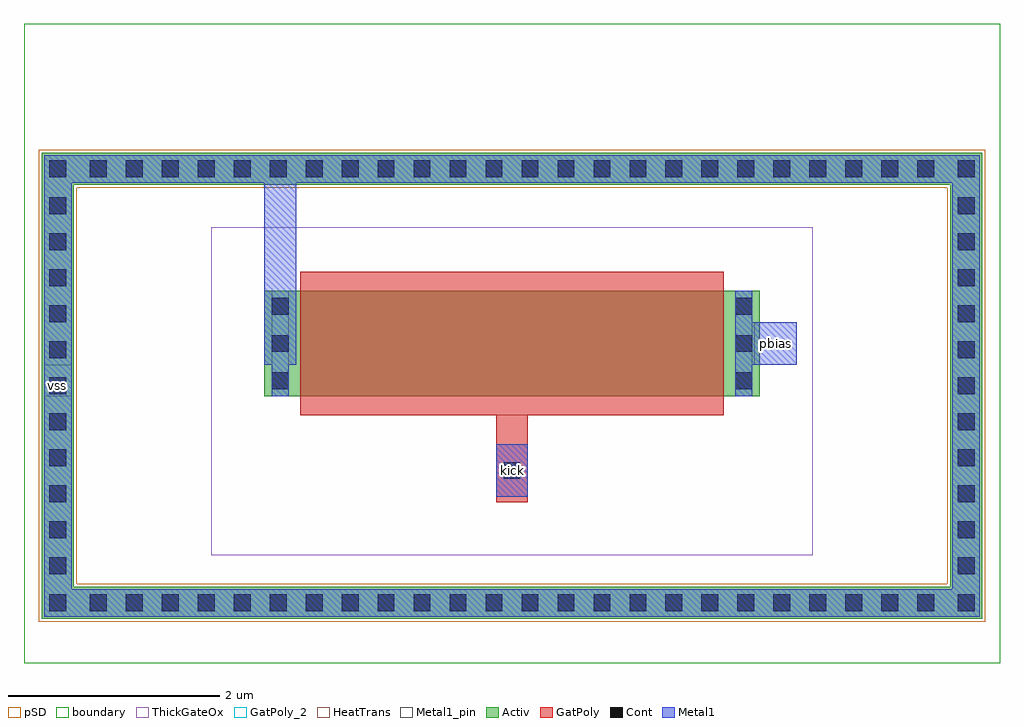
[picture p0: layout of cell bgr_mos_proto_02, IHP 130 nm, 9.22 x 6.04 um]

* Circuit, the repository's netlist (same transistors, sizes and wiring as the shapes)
.subckt bgr_mos_proto_02 pbias kick vss
MUNIT pbias kick vss vss sg13_hv_nmos l=4u w=1u as=0.34p ad=0.34p ps=2.68u pd=2.68u rfmode=0
.ends bgr_mos_proto_02

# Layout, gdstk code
import gdstk
lib = gdstk.Library(unit=1e-6, precision=1e-09)
def R(c, l, rs):  # rectangles x0, y0, x1, y1
    for r in rs: c.add(gdstk.rectangle(r[:2], r[2:], *l))
def A(c, l, x, y, w, h, nx, ny, dx, dy):  # array of equal rectangles
    R(c, l, [(x+i*dx, y+j*dy, x+i*dx+w, y+j*dy+h) for i in range(nx) for j in range(ny)])
def P(c, l, *ps):  # polygons
    for p in ps: c.add(gdstk.Polygon(p, *l))
Activ = (1, 0)
GatPoly = (5, 0)
GatPoly_2 = (5, 2)
Cont = (6, 0)
Metal1 = (8, 0)
Metal1_pin = (8, 2)
pSD = (14, 0)
ThickGateOx = (44, 0)
HeatTrans = (51, 0)
boundary = (189, 4)

nmoshv = lib.new_cell('nmosHV')
R(nmoshv, Activ, [(0,0,0.3,0.3), (0,0,4.68,1), (4.38,0,4.68,0.3)])
R(nmoshv, GatPoly, [(0.34,-0.18,4.34,1.18)])
R(nmoshv, GatPoly_2, [(0.34,-0.18,4.34,1.18)])
A(nmoshv, Cont, 0.07, 0.07, 0.16, 0.16, 1, 3, 0, 0.35)
A(nmoshv, Cont, 4.45, 0.07, 0.16, 0.16, 1, 3, 0, 0.35)
R(nmoshv, Metal1, [(0.07,0,0.23,1), (4.45,0,4.61,1)])
R(nmoshv, Metal1_pin, [(0.07,0,0.23,1), (4.45,0,4.61,1)])
R(nmoshv, ThickGateOx, [(-0.27,-0.52,4.95,1.52)])
R(nmoshv, HeatTrans, [(0.34,-0.18,4.34,1.18)])
nmoshv.add(gdstk.Label('nmosHV', (2.34,0.5), layer=63, texttype=0))
nmoshv.add(gdstk.Label('nmosHV', (2.34,0.5), layer=51, texttype=0))

bgr_mos_proto_02 = lib.new_cell('bgr_mos_proto_02')
P(bgr_mos_proto_02, Activ, [(7.9,7.9),(7.9,12),(8.2,12),(8.2,8.2),(16.48,8.2),(16.48,12),(7.9,12),(7.9,12.3),(16.78,12.3),(16.78,7.9)])
R(bgr_mos_proto_02, GatPoly, [(12.19,9,12.49,9.82)])
A(bgr_mos_proto_02, Cont, 8.35, 7.97, 0.16, 0.16, 24, 2, 0.34, 4.1)
A(bgr_mos_proto_02, Cont, 7.97, 8.32, 0.16, 0.16, 1, 11, 0, 0.34)
A(bgr_mos_proto_02, Cont, 16.55, 8.32, 0.16, 0.16, 1, 11, 0, 0.34)
R(bgr_mos_proto_02, Cont, [(7.97,7.97,8.13,8.13), (16.55,7.97,16.71,8.13), (12.26,9.22,12.42,9.38), (7.97,12.07,8.13,12.23), (16.55,12.07,16.71,12.23)])
R(bgr_mos_proto_02, Metal1, [(12.19,9.05,12.49,9.55), (10,10.3,10.3,12.28), (14.45,10.3,15.03,10.7)])
P(bgr_mos_proto_02, Metal1, [(7.92,7.92),(7.92,12.02),(8.18,12.02),(8.18,8.18),(16.5,8.18),(16.5,12.02),(7.92,12.02),(7.92,12.28),(16.76,12.28),(16.76,7.92)])
R(bgr_mos_proto_02, Metal1_pin, [(12.19,9.05,12.49,9.55), (7.92,10,8.18,10.3), (14.63,10.3,15.03,10.7)])
P(bgr_mos_proto_02, pSD, [(7.87,7.87),(7.87,11.97),(8.23,11.97),(8.23,8.23),(16.45,8.23),(16.45,11.97),(7.87,11.97),(7.87,12.33),(16.81,12.33),(16.81,7.87)])
R(bgr_mos_proto_02, ThickGateOx, [(9.5,8.5,15.18,11.6)])
R(bgr_mos_proto_02, boundary, [(7.73,7.48,16.95,13.52)])
bgr_mos_proto_02.add(gdstk.Reference(nmoshv, (10,10)))
bgr_mos_proto_02.add(gdstk.Label('kick', (12.34,9.3), layer=8, texttype=25))
bgr_mos_proto_02.add(gdstk.Label('pbias', (14.83,10.5), layer=8, texttype=25))
bgr_mos_proto_02.add(gdstk.Label('vss', (8.05,10.1), layer=8, texttype=25))

lib.write_gds('bgr_mos_proto_02.gds')
